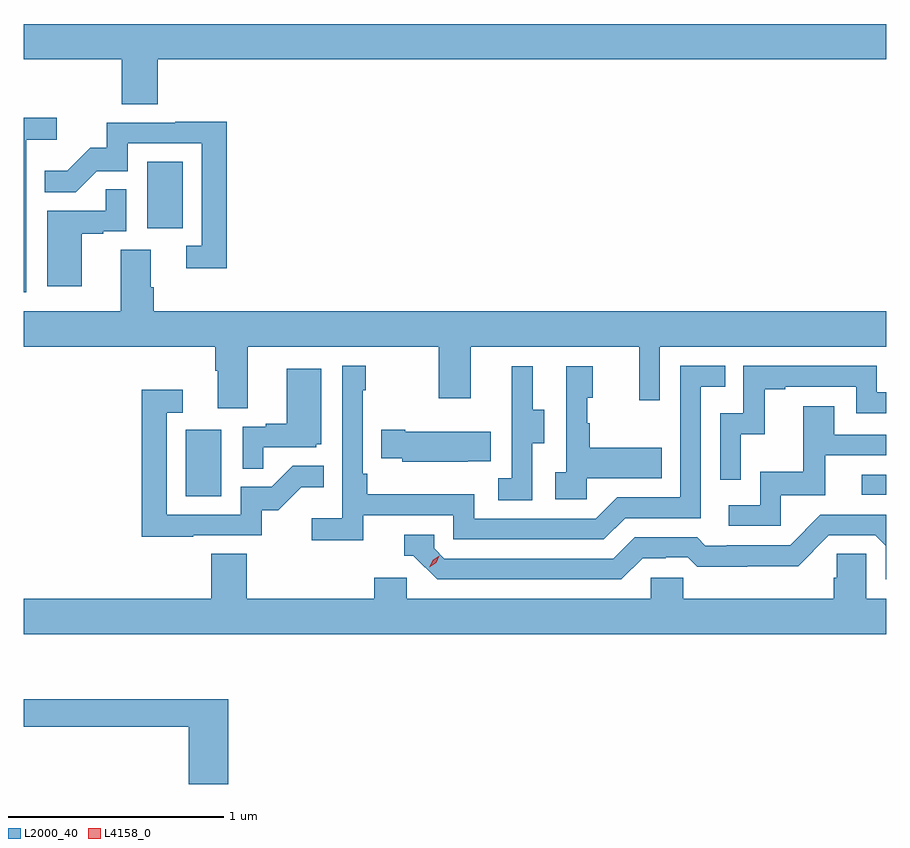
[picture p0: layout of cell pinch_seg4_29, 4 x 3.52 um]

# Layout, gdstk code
import gdstk
lib = gdstk.Library(unit=1e-6, precision=1e-09)
def R(c, l, rs):  # rectangles x0, y0, x1, y1
    for r in rs: c.add(gdstk.rectangle(r[:2], r[2:], *l))
def P(c, l, *ps):  # polygons
    for p in ps: c.add(gdstk.Polygon(p, *l))
L2000_40 = (2000, 40)
L4158_0 = (4158, 0)

pinch_seg4_29 = lib.new_cell('pinch_seg4_29')
R(pinch_seg4_29, L2000_40, [(1128.8,824.1,1128.964,824.407), (1131.933,824.106,1132.047,824.199), (1128.62,825.342,1128.784,825.649)])
P(pinch_seg4_29, L2000_40, [(1128.668,826.124),(1132.047,826.124),(1132.047,826.288),(1128.047,826.288),(1128.047,826.124),(1128.503,826.124),(1128.503,825.916),(1128.668,825.916)],
  [(1128.06,825.752),(1128.202,825.752),(1128.202,825.854),(1128.047,825.854),(1128.047,825.045),(1128.06,825.045)],
  [(1128.989,825.836),(1128.751,825.836),(1128.751,825.831),(1128.433,825.831),(1128.433,825.714),(1128.356,825.714),(1128.249,825.607),(1128.145,825.607),(1128.145,825.508),(1128.289,825.508),(1128.387,825.606),(1128.531,825.606),(1128.531,825.735),(1128.873,825.735),(1128.873,825.261),(1128.801,825.261),(1128.801,825.156),(1128.989,825.156)],
  [(1128.316,825.315),(1128.416,825.315),(1128.416,825.327),(1128.522,825.327),(1128.522,825.521),(1128.427,825.521),(1128.427,825.423),(1128.158,825.423),(1128.158,825.072),(1128.316,825.072)],
  [(1129.087,824.792),(1129.972,824.792),(1129.972,824.553),(1130.119,824.553),(1130.119,824.792),(1130.9,824.792),(1130.9,824.544),(1130.997,824.544),(1130.997,824.792),(1132.047,824.792),(1132.047,824.956),(1128.65,824.956),(1128.65,825.068),(1128.637,825.068),(1128.637,825.242),(1128.497,825.242),(1128.497,824.956),(1128.047,824.956),(1128.047,824.792),(1128.935,824.792),(1128.935,824.68),(1128.947,824.68),(1128.947,824.506),(1129.087,824.506)],
  [(1129.622,824.01),(1130.04,824.01),(1130.04,823.899),(1130.737,823.899),(1130.836,823.998),(1131.186,823.998),(1131.186,824.607),(1131.299,824.607),(1131.299,824.703),(1131.09,824.703),(1131.09,824.094),(1130.799,824.094),(1130.7,823.995),(1130.136,823.995),(1130.136,824.107),(1129.64,824.107),(1129.64,824.203),(1129.62,824.203),(1129.62,824.591),(1129.633,824.591),(1129.633,824.704),(1129.524,824.704),(1129.524,823.996),(1129.383,823.996),(1129.383,823.894),(1129.622,823.894)],
  [(1131.372,824.387),(1131.482,824.387),(1131.482,824.595),(1131.577,824.595),(1131.577,824.607),(1131.906,824.607),(1131.906,824.484),(1132.047,824.484),(1132.047,824.58),(1132.002,824.58),(1132.002,824.703),(1131.384,824.703),(1131.384,824.484),(1131.276,824.484),(1131.276,824.175),(1131.372,824.175)],
  [(1130.406,824.344),(1130.461,824.344),(1130.461,824.499),(1130.407,824.499),(1130.407,824.701),(1130.309,824.701),(1130.309,824.487),(1130.31,824.487),(1130.31,824.183),(1130.247,824.183),(1130.247,824.08),(1130.406,824.08)],
  [(1130.658,824.183),(1131.005,824.183),(1131.005,824.323),(1130.671,824.323),(1130.671,824.438),(1130.661,824.438),(1130.661,824.556),(1130.686,824.556),(1130.686,824.701),(1130.562,824.701),(1130.562,824.21),(1130.511,824.21),(1130.511,824.085),(1130.658,824.085)],
  [(1129.157,824.325),(1129.404,824.325),(1129.404,824.34),(1129.426,824.34),(1129.426,824.689),(1129.268,824.689),(1129.268,824.434),(1129.169,824.434),(1129.169,824.421),(1129.062,824.421),(1129.062,824.227),(1129.157,824.227)],
  [(1128.833,823.917),(1129.152,823.917),(1129.152,824.034),(1129.228,824.034),(1129.335,824.141),(1129.439,824.141),(1129.439,824.24),(1129.295,824.24),(1129.197,824.142),(1129.053,824.142),(1129.053,824.013),(1128.711,824.013),(1128.711,824.487),(1128.784,824.487),(1128.784,824.593),(1128.595,824.593),(1128.595,823.912),(1128.833,823.912)],
  [(1131.558,824.103),(1131.763,824.103),(1131.763,824.289),(1132.047,824.289),(1132.047,824.385),(1131.805,824.385),(1131.805,824.515),(1131.661,824.515),(1131.661,824.212),(1131.462,824.212),(1131.462,824.058),(1131.315,824.058),(1131.315,823.962),(1131.558,823.962)],
  [(1130.105,824.261),(1130.213,824.261),(1130.213,824.398),(1129.816,824.398),(1129.816,824.406),(1129.705,824.406),(1129.705,824.276),(1129.803,824.276),(1129.803,824.258),(1130.105,824.258)],
  [(1130.917,823.812),(1131.024,823.812),(1131.024,823.815),(1131.127,823.815),(1131.169,823.773),(1131.402,823.773),(1131.402,823.775),(1131.638,823.775),(1131.78,823.917),(1131.996,823.917),(1132.044,823.869),(1132.044,823.713),(1132.047,823.713),(1132.047,824.013),(1131.741,824.013),(1131.6,823.872),(1131.307,823.872),(1131.307,823.869),(1131.208,823.869),(1131.169,823.908),(1130.88,823.908),(1130.781,823.809),(1129.998,823.809),(1129.95,823.857),(1129.95,823.92),(1129.811,823.92),(1129.811,823.824),(1129.854,823.824),(1129.965,823.713),(1130.818,823.713)],
  [(1132.047,823.624),(1131.954,823.624),(1131.954,823.832),(1131.817,823.832),(1131.817,823.722),(1131.803,823.722),(1131.803,823.624),(1131.105,823.624),(1131.105,823.722),(1130.955,823.722),(1130.955,823.624),(1129.824,823.624),(1129.824,823.722),(1129.673,823.722),(1129.673,823.624),(1129.082,823.624),(1129.082,823.832),(1128.917,823.832),(1128.917,823.624),(1128.047,823.624),(1128.047,823.46),(1132.047,823.46)],
  [(1128.995,823.159),(1128.047,823.159),(1128.047,823.03),(1128.812,823.03),(1128.812,822.765),(1128.995,822.765)])
P(pinch_seg4_29, L4158_0, [(1129.928,823.77),(1129.928,823.77),(1129.943,823.803),(1129.974,823.823),(1129.974,823.823),(1129.974,823.823),(1129.959,823.79),(1129.928,823.77)])

lib.write_gds('pinch_seg4_29.gds')
